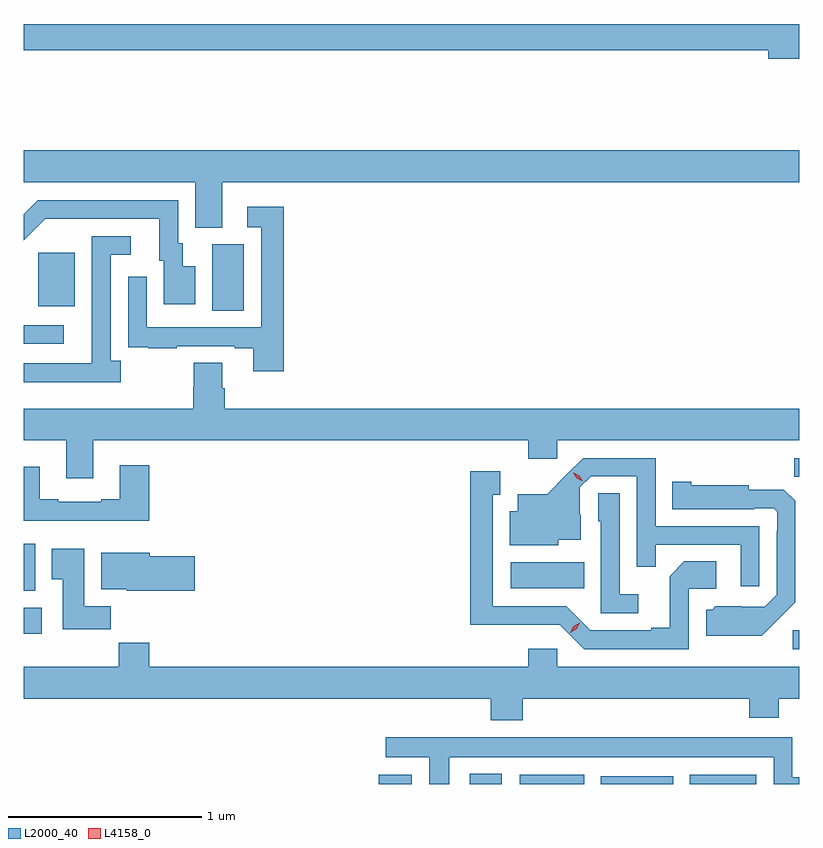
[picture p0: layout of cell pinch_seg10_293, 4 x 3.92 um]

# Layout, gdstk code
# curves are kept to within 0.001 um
import gdstk
lib = gdstk.Library(unit=1e-6, precision=1e-09)
def R(c, l, rs):  # rectangles x0, y0, x1, y1
    for r in rs: c.add(gdstk.rectangle(r[:2], r[2:], *l))
def P(c, l, *ps):  # polygons
    for p in ps: c.add(gdstk.Polygon(p, *l))
L2000_40 = (2000, 40)
L4158_0 = (4158, 0)

pinch_seg10_293 = lib.new_cell('pinch_seg10_293')
R(pinch_seg10_293, L2000_40, [(413.972,1298.544,414.142,1298.593), (414.443,1298.544,414.607,1298.596), (414.701,1298.544,415.033,1298.593), (415.118,1298.544,415.492,1298.584), (415.577,1298.544,415.921,1298.593), (416.109,1299.24,416.142,1299.336), (412.142,1299.32,412.234,1299.454), (412.142,1299.542,412.201,1299.784), (414.654,1299.554,415.034,1299.688), (416.116,1300.129,416.142,1300.224), (412.142,1300.815,412.348,1300.911), (413.114,1300.984,413.278,1301.328), (412.217,1301.009,412.405,1301.284)])
P(pinch_seg10_293, L2000_40, [(416.142,1302.464),(412.142,1302.464),(412.142,1302.328),(415.982,1302.328),(415.982,1302.286),(416.142,1302.286)],
  [(413.167,1301.648),(416.142,1301.648),(416.142,1301.812),(412.142,1301.812),(412.142,1301.648),(413.027,1301.648),(413.027,1301.413),(413.167,1301.413)],
  [(413.026,1301.215),(412.963,1301.215),(412.963,1301.334),(412.938,1301.334),(412.938,1301.556),(412.214,1301.556),(412.142,1301.484),(412.142,1301.348),(412.254,1301.46),(412.841,1301.46),(412.841,1301.244),(412.865,1301.244),(412.865,1301.019),(413.026,1301.019)],
  [(413.483,1301.521),(413.295,1301.521),(413.295,1301.415),(413.367,1301.415),(413.367,1300.899),(412.776,1300.899),(412.776,1301.161),(412.68,1301.161),(412.68,1300.906),(412.681,1300.906),(412.681,1300.797),(412.783,1300.797),(412.783,1300.791),(412.931,1300.791),(412.931,1300.803),(413.231,1300.803),(413.231,1300.791),(413.327,1300.791),(413.327,1300.674),(413.483,1300.674)],
  [(412.642,1300.726),(412.59,1300.726),(412.59,1301.274),(412.693,1301.274),(412.693,1301.37),(412.494,1301.37),(412.494,1300.913),(412.493,1300.913),(412.493,1300.713),(412.142,1300.713),(412.142,1300.616),(412.642,1300.616)],
  [(412.501,1300.316),(414.743,1300.316),(414.743,1300.221),(414.894,1300.221),(414.894,1300.316),(416.142,1300.316),(416.142,1300.48),(413.18,1300.48),(413.18,1300.586),(413.167,1300.586),(413.167,1300.718),(413.02,1300.718),(413.02,1300.593),(413.015,1300.593),(413.015,1300.48),(412.142,1300.48),(412.142,1300.316),(412.361,1300.316),(412.361,1300.122),(412.501,1300.122)],
  [(415.935,1299.873),(415.401,1299.873),(415.401,1300.224),(415.028,1300.224),(414.841,1300.039),(414.689,1300.039),(414.689,1299.952),(414.65,1299.952),(414.65,1299.776),(414.9,1299.776),(414.9,1299.803),(415.015,1299.803),(415.015,1299.932),(415.011,1299.932),(415.011,1300.074),(415.068,1300.131),(415.305,1300.131),(415.305,1299.664),(415.403,1299.664),(415.403,1299.777),(415.839,1299.777),(415.839,1299.564),(415.935,1299.564)],
  [(412.79,1300.189),(412.637,1300.189),(412.637,1300.012),(412.541,1300.012),(412.541,1299.999),(412.321,1299.999),(412.321,1300.012),(412.225,1300.012),(412.225,1300.18),(412.142,1300.18),(412.142,1299.902),(412.79,1299.902)],
  [(415.572,1299.552),(415.714,1299.552),(415.714,1299.692),(415.549,1299.692),(415.473,1299.616),(415.473,1299.349),(415.379,1299.349),(415.379,1299.336),(415.065,1299.336),(414.939,1299.462),(414.562,1299.462),(414.562,1300.035),(414.601,1300.035),(414.601,1300.156),(414.444,1300.156),(414.444,1299.365),(414.906,1299.366),(415.032,1299.24),(415.572,1299.24)],
  [(416.029,1299.389),(416.121,1299.482),(416.121,1300.004),(416.062,1300.063),(415.881,1300.063),(415.881,1300.084),(415.584,1300.084),(415.584,1300.102),(415.486,1300.102),(415.486,1299.962),(415.91,1299.962),(415.91,1299.966),(416.01,1299.966),(416.028,1299.948),(416.028,1299.848),(416.025,1299.848),(416.025,1299.519),(415.965,1299.459),(415.708,1299.46),(415.692,1299.444),(415.661,1299.444),(415.661,1299.308),(415.949,1299.308)],
  [(415.312,1299.523),(415.215,1299.523),(415.215,1300.043),(415.104,1300.043),(415.104,1299.9),(415.119,1299.9),(415.119,1299.426),(415.312,1299.426)],
  [(412.592,1299.46),(412.453,1299.46),(412.453,1299.757),(412.286,1299.757),(412.286,1299.601),(412.343,1299.601),(412.343,1299.342),(412.592,1299.342)],
  [(413.023,1299.719),(412.792,1299.719),(412.792,1299.736),(412.541,1299.736),(412.541,1299.548),(412.674,1299.548),(412.674,1299.542),(413.023,1299.542)],
  [(414.716,1298.984),(415.883,1298.984),(415.883,1298.885),(416.035,1298.885),(416.035,1298.984),(416.142,1298.984),(416.142,1299.148),(414.894,1299.148),(414.894,1299.241),(414.743,1299.241),(414.743,1299.148),(412.79,1299.148),(412.79,1299.272),(412.633,1299.272),(412.633,1299.148),(412.142,1299.148),(412.142,1298.984),(414.551,1298.984),(414.551,1298.873),(414.716,1298.873)],
  [(414.337,1298.681),(416.01,1298.681),(416.01,1298.544),(416.142,1298.544),(416.142,1298.58),(416.107,1298.58),(416.107,1298.785),(414.009,1298.785),(414.009,1298.681),(414.233,1298.681),(414.233,1298.544),(414.337,1298.544)])
P(pinch_seg10_293, L4158_0, [(415.025,1300.105),(414.995,1300.12),(414.977,1300.15),(414.977,1300.15),(414.978,1300.15),(415.008,1300.135),(415.026,1300.105),(415.026,1300.105)],
  [(414.962,1299.324),(414.962,1299.325),(414.979,1299.357),(415.011,1299.377),(415.011,1299.377),(415.011,1299.376),(414.994,1299.344),(414.962,1299.324)])

lib.write_gds('pinch_seg10_293.gds')
